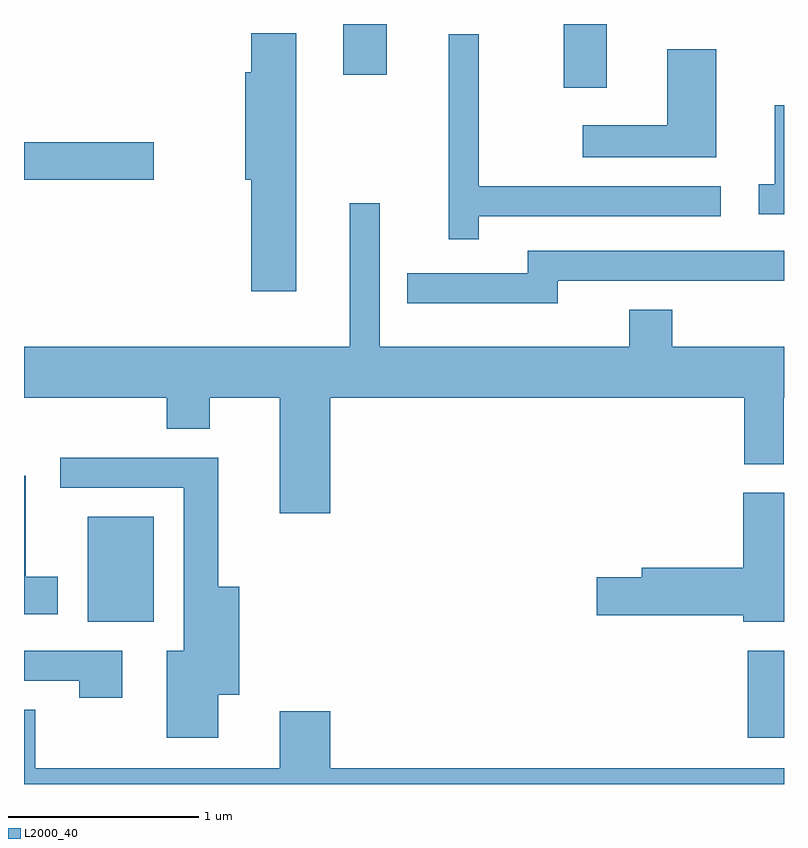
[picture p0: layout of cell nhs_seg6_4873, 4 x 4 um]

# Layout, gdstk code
import gdstk
lib = gdstk.Library(unit=1e-6, precision=1e-09)
def R(c, l, rs):  # rectangles x0, y0, x1, y1
    for r in rs: c.add(gdstk.rectangle(r[:2], r[2:], *l))
def P(c, l, *ps):  # polygons
    for p in ps: c.add(gdstk.Polygon(p, *l))
L2000_40 = (2000, 40)

nhs_seg6_4873 = lib.new_cell('nhs_seg6_4873')
R(nhs_seg6_4873, L2000_40, [(337.421,1610.406,337.611,1610.864), (333.946,1611.016,334.294,1611.569), (333.611,1613.341,334.294,1613.539), (336.451,1613.826,336.679,1614.162), (335.291,1613.896,335.519,1614.162)])
P(nhs_seg6_4873, L2000_40, [(335.044,1614.114),(334.806,1614.114),(334.806,1613.909),(334.776,1613.909),(334.776,1613.341),(334.806,1613.341),(334.806,1612.756),(335.044,1612.756)],
  [(336.004,1613.151),(337.278,1613.151),(337.278,1613.309),(336.004,1613.309),(336.004,1614.108),(335.846,1614.108),(335.846,1613.028),(336.004,1613.028)],
  [(337.254,1614.029),(336.996,1614.029),(336.996,1613.629),(336.553,1613.629),(336.553,1613.461),(337.254,1613.461)],
  [(337.611,1613.734),(337.561,1613.734),(337.561,1613.319),(337.478,1613.319),(337.478,1613.161),(337.611,1613.161)],
  [(335.224,1612.196),(337.401,1612.196),(337.401,1611.846),(337.609,1611.846),(337.609,1612.196),(337.611,1612.196),(337.611,1612.464),(337.024,1612.464),(337.024,1612.659),(336.796,1612.659),(336.796,1612.464),(335.484,1612.464),(335.484,1613.218),(335.326,1613.218),(335.326,1612.464),(333.611,1612.464),(333.611,1612.196),(334.361,1612.196),(334.361,1612.031),(334.589,1612.031),(334.589,1612.196),(334.956,1612.196),(334.956,1611.586),(335.224,1611.586)],
  [(336.419,1612.811),(337.611,1612.811),(337.611,1612.969),(336.261,1612.969),(336.261,1612.849),(335.628,1612.849),(335.628,1612.691),(336.419,1612.691)],
  [(334.634,1610.631),(334.744,1610.631),(334.744,1611.199),(334.634,1611.199),(334.634,1611.879),(333.803,1611.879),(333.803,1611.721),(334.451,1611.721),(334.451,1610.864),(334.361,1610.864),(334.361,1610.406),(334.634,1610.406)],
  [(333.789,1611.254),(333.619,1611.254),(333.619,1611.784),(333.611,1611.784),(333.611,1611.056),(333.789,1611.056)],
  [(337.611,1611.694),(337.396,1611.694),(337.396,1611.299),(336.861,1611.299),(336.861,1611.249),(336.626,1611.249),(336.626,1611.051),(337.396,1611.051),(337.396,1611.016),(337.611,1611.016)],
  [(334.129,1610.864),(333.611,1610.864),(333.611,1610.706),(333.901,1610.706),(333.901,1610.616),(334.129,1610.616)],
  [(337.611,1610.244),(335.224,1610.244),(335.224,1610.544),(334.956,1610.544),(334.956,1610.244),(333.669,1610.244),(333.669,1610.554),(333.611,1610.554),(333.611,1610.162),(337.611,1610.162)])

lib.write_gds('nhs_seg6_4873.gds')
